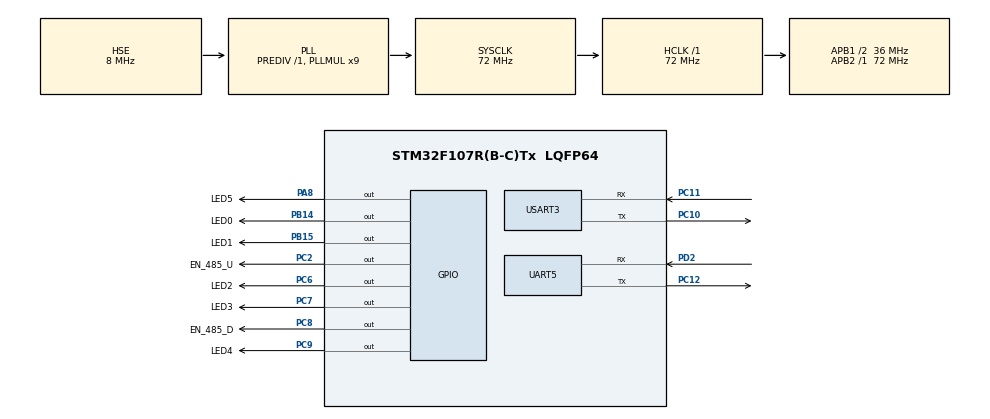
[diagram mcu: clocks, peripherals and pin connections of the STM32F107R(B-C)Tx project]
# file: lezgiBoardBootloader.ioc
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Dma.MEMTOMEM.0.Direction=DMA_MEMORY_TO_MEMORY
Dma.MEMTOMEM.0.Instance=DMA1_Channel1
Dma.MEMTOMEM.0.MemDataAlignment=DMA_MDATAALIGN_BYTE
Dma.MEMTOMEM.0.MemInc=DMA_MINC_ENABLE
Dma.MEMTOMEM.0.Mode=DMA_NORMAL
Dma.MEMTOMEM.0.PeriphDataAlignment=DMA_PDATAALIGN_BYTE
Dma.MEMTOMEM.0.PeriphInc=DMA_PINC_ENABLE
Dma.MEMTOMEM.0.Priority=DMA_PRIORITY_MEDIUM
Dma.Request0=MEMTOMEM
Dma.Request1=USART3_TX
Dma.Request2=USART3_RX
Dma.USART3_RX.2.Direction=DMA_PERIPH_TO_MEMORY
Dma.USART3_RX.2.Instance=DMA1_Channel3
Dma.USART3_RX.2.MemDataAlignment=DMA_MDATAALIGN_BYTE
Dma.USART3_RX.2.MemInc=DMA_MINC_ENABLE
Dma.USART3_RX.2.Mode=DMA_CIRCULAR
Dma.USART3_RX.2.PeriphDataAlignment=DMA_PDATAALIGN_BYTE
Dma.USART3_RX.2.PeriphInc=DMA_PINC_DISABLE
Dma.USART3_RX.2.Priority=DMA_PRIORITY_HIGH
Dma.USART3_TX.1.Direction=DMA_MEMORY_TO_PERIPH
Dma.USART3_TX.1.Instance=DMA1_Channel2
Dma.USART3_TX.1.MemDataAlignment=DMA_MDATAALIGN_BYTE
Dma.USART3_TX.1.MemInc=DMA_MINC_ENABLE
Dma.USART3_TX.1.Mode=DMA_NORMAL
Dma.USART3_TX.1.PeriphDataAlignment=DMA_PDATAALIGN_BYTE
Dma.USART3_TX.1.PeriphInc=DMA_PINC_DISABLE
Dma.USART3_TX.1.Priority=DMA_PRIORITY_MEDIUM
IWDG.Prescaler=IWDG_PRESCALER_32
IWDG.Reload=2500
Mcu.Family=STM32F1
Mcu.Name=STM32F107R(B-C)Tx
Mcu.Package=LQFP64
NVIC.DMA1_Channel1_IRQn=true\:0\:0\:false\:false\:true\:true\:true\:true
NVIC.DMA1_Channel2_IRQn=true\:0\:0\:false\:false\:true\:false\:true\:true
NVIC.DMA1_Channel3_IRQn=true\:0\:0\:false\:false\:true\:false\:true\:true
NVIC.PriorityGroup=NVIC_PRIORITYGROUP_4
NVIC.TIM7_IRQn=true\:15\:0\:false\:false\:true\:false\:true\:true
NVIC.TimeBase=TIM7_IRQn
NVIC.TimeBaseIP=TIM7
NVIC.UART5_IRQn=true\:0\:0\:false\:false\:true\:true\:true\:true
NVIC.USART3_IRQn=true\:0\:0\:false\:false\:true\:true\:true\:true
PA13.Mode=Serial_Wire
PA13.Signal=SYS_JTMS-SWDIO
PA14.Mode=Serial_Wire
PA14.Signal=SYS_JTCK-SWCLK
PA8.GPIO_Label=LED5
PA8.GPIO_ModeDefaultOutputPP=GPIO_MODE_OUTPUT_PP
PA8.GPIO_PuPd=GPIO_NOPULL
PA8.GPIO_Speed=GPIO_SPEED_FREQ_HIGH
PA8.PinState=GPIO_PIN_RESET
PA8.Signal=GPIO_Output
PB14.GPIO_Label=LED0
PB14.GPIO_ModeDefaultOutputPP=GPIO_MODE_OUTPUT_PP
PB14.GPIO_PuPd=GPIO_NOPULL
PB14.GPIO_Speed=GPIO_SPEED_FREQ_HIGH
PB14.PinState=GPIO_PIN_RESET
PB14.Signal=GPIO_Output
PB15.GPIO_Label=LED1
PB15.GPIO_ModeDefaultOutputPP=GPIO_MODE_OUTPUT_PP
PB15.GPIO_PuPd=GPIO_NOPULL
PB15.GPIO_Speed=GPIO_SPEED_FREQ_HIGH
PB15.PinState=GPIO_PIN_RESET
PB15.Signal=GPIO_Output
PC10.Mode=Asynchronous
PC10.Signal=USART3_TX
PC11.Mode=Asynchronous
PC11.Signal=USART3_RX
PC12.Mode=Asynchronous
PC12.Signal=UART5_TX
PC2.GPIO_Label=EN_485_U
PC2.GPIO_Speed=GPIO_SPEED_FREQ_HIGH
PC2.Signal=GPIO_Output
PC6.GPIO_Label=LED2
PC6.GPIO_ModeDefaultOutputPP=GPIO_MODE_OUTPUT_PP
PC6.GPIO_PuPd=GPIO_NOPULL
PC6.GPIO_Speed=GPIO_SPEED_FREQ_HIGH
PC6.PinState=GPIO_PIN_RESET
PC6.Signal=GPIO_Output
PC7.GPIO_Label=LED3
PC7.GPIO_ModeDefaultOutputPP=GPIO_MODE_OUTPUT_PP
PC7.GPIO_PuPd=GPIO_NOPULL
PC7.GPIO_Speed=GPIO_SPEED_FREQ_HIGH
PC7.PinState=GPIO_PIN_RESET
PC7.Signal=GPIO_Output
PC8.GPIO_Label=EN_485_D
PC8.GPIO_ModeDefaultOutputPP=GPIO_MODE_OUTPUT_PP
PC8.GPIO_PuPd=GPIO_NOPULL
PC8.GPIO_Speed=GPIO_SPEED_FREQ_HIGH
PC8.PinState=GPIO_PIN_RESET
PC8.Signal=GPIO_Output
PC9.GPIO_Label=LED4
PC9.GPIO_ModeDefaultOutputPP=GPIO_MODE_OUTPUT_PP
PC9.GPIO_PuPd=GPIO_NOPULL
PC9.GPIO_Speed=GPIO_SPEED_FREQ_HIGH
PC9.PinState=GPIO_PIN_RESET
PC9.Signal=GPIO_Output
PD0-OSC_IN.Mode=HSE-External-Oscillator
PD0-OSC_IN.Signal=RCC_OSC_IN
PD1-OSC_OUT.Mode=HSE-External-Oscillator
PD1-OSC_OUT.Signal=RCC_OSC_OUT
PD2.Mode=Asynchronous
PD2.Signal=UART5_RX
ProjectManager.HeapSize=0x200
ProjectManager.StackSize=0x400
ProjectManager.TargetToolchain=STM32CubeIDE
RCC.AHBFreq_Value=72000000
RCC.APB1CLKDivider=RCC_HCLK_DIV2
RCC.APB1Freq_Value=36000000
RCC.APB1TimFreq_Value=72000000
RCC.APB2Freq_Value=72000000
RCC.APB2TimFreq_Value=72000000
RCC.EnbaleCSS=true
RCC.HCLKFreq_Value=72000000
RCC.PLLMUL=RCC_PLL_MUL9
RCC.PLLSourceVirtual=RCC_PLLSOURCE_HSE
RCC.SYSCLKFreq_VALUE=72000000
RCC.SYSCLKSource=RCC_SYSCLKSOURCE_PLLCLK
RCC.USBFreq_Value=48000000
UART5.VirtualMode=Asynchronous
USART3.VirtualMode=VM_ASYNC
VP_IWDG_VS_IWDG.Mode=IWDG_Activate
VP_SYS_VS_tim7.Mode=TIM7
board=custom

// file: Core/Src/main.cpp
/* USER CODE BEGIN Header */
/**
  ******************************************************************************
  * @file           : main.c
  * @brief          : Main program body
  ******************************************************************************
  * @attention
  *
  * Copyright (c) 2026 STMicroelectronics.
  * All rights reserved.
  *
  * This software is licensed under terms that can be found in the LICENSE file
  * in the root directory of this software component.
  * If no LICENSE file comes with this software, it is provided AS-IS.
  *
  ******************************************************************************
  */
/* USER CODE END Header */
#include "main.h"

/* USER CODE BEGIN Includes */
#include "stm32f1xx_hal_uart.h"
#include "stm32f1xx_it.h"
#include "jsonpacket.hpp"
/* USER CODE END Includes */

/* USER CODE BEGIN PD */
#define APPLICATION_ADDRESS     (0x08008000U)
/* USER CODE END PD */

IWDG_HandleTypeDef hiwdg;

UART_HandleTypeDef huart5;
UART_HandleTypeDef huart3;
DMA_HandleTypeDef hdma_usart3_tx;
DMA_HandleTypeDef hdma_usart3_rx;

DMA_HandleTypeDef hdma_memtomem_dma1_channel1;
/* USER CODE BEGIN PV */
uint32_t timeToStartApp,timeToBlinking;
/* USER CODE END PV */

void SystemClock_Config(void);
static void MX_GPIO_Init(void);
static void MX_DMA_Init(void);
static void MX_IWDG_Init(void);
static void MX_UART5_Init(void);
static void MX_USART3_UART_Init(void);
/* USER CODE BEGIN PFP */
typedef void (*pFunction)(void);
AppJumpStatus_t JumpToApplication(void);
HAL_StatusTypeDef Application_IsValid(void);
/* USER CODE END PFP */

int main(void)
{

  /* MCU Configuration--------------------------------------------------------*/

  /* Reset of all peripherals, Initializes the Flash interface and the Systick. */
  HAL_Init();

  /* Configure the system clock */
  SystemClock_Config();

  /* Initialize all configured peripherals */
  MX_GPIO_Init();
  MX_DMA_Init();
  MX_IWDG_Init();
  MX_UART5_Init();
  MX_USART3_UART_Init();
  /* USER CODE BEGIN 2 */
  __HAL_IWDG_START(&hiwdg);
  HAL_IWDG_Refresh(&hiwdg);
  timeToStartApp = HAL_GetTick() + 2000;
  timeToBlinking = HAL_GetTick();
  /* USER CODE END 2 */

  /* Infinite loop */
  /* USER CODE BEGIN WHILE */
  while (1)
  {
	  HAL_IWDG_Refresh(&hiwdg);
	  if(HAL_GetTick() >= timeToBlinking)
	  {
		  timeToBlinking = HAL_GetTick() + 500;
		  HAL_GPIO_TogglePin(LED0_GPIO_Port, LED0_Pin);
		  HAL_GPIO_TogglePin(LED1_GPIO_Port, LED1_Pin);
		  HAL_GPIO_TogglePin(LED2_GPIO_Port, LED2_Pin);
		  HAL_GPIO_TogglePin(LED3_GPIO_Port, LED3_Pin);
		  HAL_GPIO_TogglePin(LED4_GPIO_Port, LED4_Pin);
		  HAL_GPIO_TogglePin(LED5_GPIO_Port, LED5_Pin);
	  }
	  if(HAL_GetTick() >= timeToStartApp)
	  {
		  if(Application_IsValid() == HAL_OK)
		  {
			  JumpToApplication();
		  }
		  timeToStartApp = HAL_GetTick() + 2000;
	  }
    /* USER CODE END WHILE */

  }
}

void SystemClock_Config(void)
{
  RCC_OscInitTypeDef RCC_OscInitStruct = {0};
  RCC_ClkInitTypeDef RCC_ClkInitStruct = {0};

  /** Initializes the RCC Oscillators according to the specified parameters
  * in the RCC_OscInitTypeDef structure.
  */
  RCC_OscInitStruct.OscillatorType = RCC_OSCILLATORTYPE_LSI|RCC_OSCILLATORTYPE_HSE;
  RCC_OscInitStruct.HSEState = RCC_HSE_ON;
  RCC_OscInitStruct.HSEPredivValue = RCC_HSE_PREDIV_DIV1;
  RCC_OscInitStruct.HSIState = RCC_HSI_ON;
  RCC_OscInitStruct.LSIState = RCC_LSI_ON;
  RCC_OscInitStruct.Prediv1Source = RCC_PREDIV1_SOURCE_HSE;
  RCC_OscInitStruct.PLL.PLLState = RCC_PLL_ON;
  RCC_OscInitStruct.PLL.PLLSource = RCC_PLLSOURCE_HSE;
  RCC_OscInitStruct.PLL.PLLMUL = RCC_PLL_MUL9;
  RCC_OscInitStruct.PLL2.PLL2State = RCC_PLL_NONE;
  if (HAL_RCC_OscConfig(&RCC_OscInitStruct) != HAL_OK)
  {
    Error_Handler();
  }

  /** Initializes the CPU, AHB and APB buses clocks
  */
  RCC_ClkInitStruct.ClockType = RCC_CLOCKTYPE_HCLK|RCC_CLOCKTYPE_SYSCLK
                              |RCC_CLOCKTYPE_PCLK1|RCC_CLOCKTYPE_PCLK2;
  RCC_ClkInitStruct.SYSCLKSource = RCC_SYSCLKSOURCE_PLLCLK;
  RCC_ClkInitStruct.AHBCLKDivider = RCC_SYSCLK_DIV1;
  RCC_ClkInitStruct.APB1CLKDivider = RCC_HCLK_DIV2;
  RCC_ClkInitStruct.APB2CLKDivider = RCC_HCLK_DIV1;

  if (HAL_RCC_ClockConfig(&RCC_ClkInitStruct, FLASH_LATENCY_2) != HAL_OK)
  {
    Error_Handler();
  }

  /** Enables the Clock Security System
  */
  HAL_RCC_EnableCSS();

  /** Configure the Systick interrupt time
  */
  __HAL_RCC_PLLI2S_ENABLE();
}

static void MX_IWDG_Init(void)
{

  hiwdg.Instance = IWDG;
  hiwdg.Init.Prescaler = IWDG_PRESCALER_32;
  hiwdg.Init.Reload = 2500;
  if (HAL_IWDG_Init(&hiwdg) != HAL_OK)
  {
    Error_Handler();
  }

}

static void MX_UART5_Init(void)
{

  huart5.Instance = UART5;
  huart5.Init.BaudRate = 115200;
  huart5.Init.WordLength = UART_WORDLENGTH_8B;
  huart5.Init.StopBits = UART_STOPBITS_1;
  huart5.Init.Parity = UART_PARITY_NONE;
  huart5.Init.Mode = UART_MODE_TX_RX;
  huart5.Init.HwFlowCtl = UART_HWCONTROL_NONE;
  huart5.Init.OverSampling = UART_OVERSAMPLING_16;
  if (HAL_UART_Init(&huart5) != HAL_OK)
  {
    Error_Handler();
  }

}

static void MX_USART3_UART_Init(void)
{

  huart3.Instance = USART3;
  huart3.Init.BaudRate = 115200;
  huart3.Init.WordLength = UART_WORDLENGTH_8B;
  huart3.Init.StopBits = UART_STOPBITS_1;
  huart3.Init.Parity = UART_PARITY_NONE;
  huart3.Init.Mode = UART_MODE_TX_RX;
  huart3.Init.HwFlowCtl = UART_HWCONTROL_NONE;
  huart3.Init.OverSampling = UART_OVERSAMPLING_16;
  if (HAL_UART_Init(&huart3) != HAL_OK)
  {
    Error_Handler();
  }

}

static void MX_DMA_Init(void)
{

  /* DMA controller clock enable */
  __HAL_RCC_DMA1_CLK_ENABLE();

  /* Configure DMA request hdma_memtomem_dma1_channel1 on DMA1_Channel1 */
  hdma_memtomem_dma1_channel1.Instance = DMA1_Channel1;
  hdma_memtomem_dma1_channel1.Init.Direction = DMA_MEMORY_TO_MEMORY;
  hdma_memtomem_dma1_channel1.Init.PeriphInc = DMA_PINC_ENABLE;
  hdma_memtomem_dma1_channel1.Init.MemInc = DMA_MINC_ENABLE;
  hdma_memtomem_dma1_channel1.Init.PeriphDataAlignment = DMA_PDATAALIGN_BYTE;
  hdma_memtomem_dma1_channel1.Init.MemDataAlignment = DMA_MDATAALIGN_BYTE;
  hdma_memtomem_dma1_channel1.Init.Mode = DMA_NORMAL;
  hdma_memtomem_dma1_channel1.Init.Priority = DMA_PRIORITY_MEDIUM;
  if (HAL_DMA_Init(&hdma_memtomem_dma1_channel1) != HAL_OK)
  {
    Error_Handler( );
  }

  /* DMA interrupt init */
  /* DMA1_Channel1_IRQn interrupt configuration */
  HAL_NVIC_SetPriority(DMA1_Channel1_IRQn, 0, 0);
  HAL_NVIC_EnableIRQ(DMA1_Channel1_IRQn);
  /* DMA1_Channel2_IRQn interrupt configuration */
  HAL_NVIC_SetPriority(DMA1_Channel2_IRQn, 0, 0);
  HAL_NVIC_EnableIRQ(DMA1_Channel2_IRQn);
  /* DMA1_Channel3_IRQn interrupt configuration */
  HAL_NVIC_SetPriority(DMA1_Channel3_IRQn, 0, 0);
  HAL_NVIC_EnableIRQ(DMA1_Channel3_IRQn);

}

static void MX_GPIO_Init(void)
{
  GPIO_InitTypeDef GPIO_InitStruct = {0};

  /* GPIO Ports Clock Enable */
  __HAL_RCC_GPIOD_CLK_ENABLE();
  __HAL_RCC_GPIOC_CLK_ENABLE();
  __HAL_RCC_GPIOB_CLK_ENABLE();
  __HAL_RCC_GPIOA_CLK_ENABLE();

  /*Configure GPIO pin Output Level */
  HAL_GPIO_WritePin(GPIOC, EN_485_U_Pin|LED2_Pin|LED3_Pin|EN_485_D_Pin
                          |LED4_Pin, GPIO_PIN_RESET);

  /*Configure GPIO pin Output Level */
  HAL_GPIO_WritePin(GPIOB, LED0_Pin|LED1_Pin, GPIO_PIN_RESET);

  /*Configure GPIO pin Output Level */
  HAL_GPIO_WritePin(LED5_GPIO_Port, LED5_Pin, GPIO_PIN_RESET);

  /*Configure GPIO pins : EN_485_U_Pin LED2_Pin LED3_Pin EN_485_D_Pin
                           LED4_Pin */
  GPIO_InitStruct.Pin = EN_485_U_Pin|LED2_Pin|LED3_Pin|EN_485_D_Pin
                          |LED4_Pin;
  GPIO_InitStruct.Mode = GPIO_MODE_OUTPUT_PP;
  GPIO_InitStruct.Pull = GPIO_NOPULL;
  GPIO_InitStruct.Speed = GPIO_SPEED_FREQ_HIGH;
  HAL_GPIO_Init(GPIOC, &GPIO_InitStruct);

  /*Configure GPIO pins : LED0_Pin LED1_Pin */
  GPIO_InitStruct.Pin = LED0_Pin|LED1_Pin;
  GPIO_InitStruct.Mode = GPIO_MODE_OUTPUT_PP;
  GPIO_InitStruct.Pull = GPIO_NOPULL;
  GPIO_InitStruct.Speed = GPIO_SPEED_FREQ_HIGH;
  HAL_GPIO_Init(GPIOB, &GPIO_InitStruct);

  /*Configure GPIO pin : LED5_Pin */
  GPIO_InitStruct.Pin = LED5_Pin;
  GPIO_InitStruct.Mode = GPIO_MODE_OUTPUT_PP;
  GPIO_InitStruct.Pull = GPIO_NOPULL;
  GPIO_InitStruct.Speed = GPIO_SPEED_FREQ_HIGH;
  HAL_GPIO_Init(LED5_GPIO_Port, &GPIO_InitStruct);

}

/* USER CODE BEGIN 4 */
AppJumpStatus_t JumpToApplication(void)
{
    uint32_t appStack;
    uint32_t appResetHandler;
    pFunction jumpToApp;

    /* Read the initial MSP from the application vector table */
    appStack = *(__IO uint32_t *)APPLICATION_ADDRESS;

    /* Check whether the stack pointer is inside SRAM */
    if ((appStack < SRAM_START_ADDRESS) || (appStack > SRAM_END_ADDRESS))
    {
        return APP_JUMP_INVALID_STACK;
    }

    /* Read the reset handler address */
    appResetHandler = *(__IO uint32_t *)(APPLICATION_ADDRESS + 4U);

    /* Check whether the reset handler is valid */
    if ((appResetHandler < APPLICATION_ADDRESS) ||
        (appResetHandler >= FLASH_END_ADDRESS) ||
        ((appResetHandler & 0x1U) == 0U))
    {
        return APP_JUMP_INVALID_RESET_HANDLER;
    }

    /* Disable global interrupts */
    __disable_irq();

    /* Stop SysTick and clear pending state */
    SysTick->CTRL = 0U;
    SysTick->LOAD = 0U;
    SysTick->VAL  = 0U;
    SCB->ICSR = SCB_ICSR_PENDSTCLR_Msk;

    /* Disable and clear all NVIC interrupt lines */
    NVIC->ICER[0] = 0xFFFFFFFFU;
    NVIC->ICER[1] = 0xFFFFFFFFU;
    NVIC->ICPR[0] = 0xFFFFFFFFU;
    NVIC->ICPR[1] = 0xFFFFFFFFU;

    /* Reset HAL and RCC state */
    HAL_RCC_DeInit();
    HAL_DeInit();

    /* Switch vector table to application space */
    SCB->VTOR = APPLICATION_ADDRESS;
    __DSB();
    __ISB();

    /* Set MSP and jump */
    __set_MSP(appStack);
    jumpToApp = (pFunction)appResetHandler;
    jumpToApp();

    /* If control returns, jump failed */
    return APP_JUMP_RETURNED_UNEXPECTEDLY;
}

HAL_StatusTypeDef Application_IsValid(void)
{
    uint32_t appStack;
    uint32_t appResetHandler;

    /* Read MSP from application vector table */
    appStack = *(__IO uint32_t *)APPLICATION_ADDRESS;

    /* Validate stack pointer */
    if ((appStack < SRAM_START_ADDRESS) || (appStack > SRAM_END_ADDRESS))
    {
        return HAL_ERROR;
    }

    /* Read reset handler */
    appResetHandler = *(__IO uint32_t *)(APPLICATION_ADDRESS + 4U);

    /* Validate reset handler */
    if ((appResetHandler < APPLICATION_ADDRESS) ||
        (appResetHandler >= FLASH_END_ADDRESS) ||
        ((appResetHandler & 0x1U) == 0U))
    {
        return HAL_ERROR;
    }

    return HAL_OK;
}

/* USER CODE END 4 */

void HAL_TIM_PeriodElapsedCallback(TIM_HandleTypeDef *htim)
{
  if (htim->Instance == TIM7)
  {
    HAL_IncTick();
  }
}

void Error_Handler(void)
{
  __disable_irq();
  while (1)
  {
  }
}
